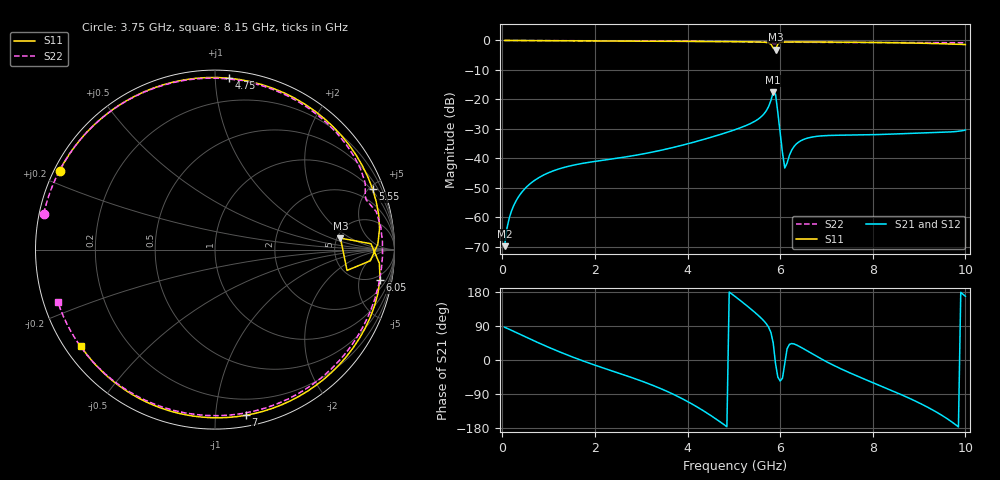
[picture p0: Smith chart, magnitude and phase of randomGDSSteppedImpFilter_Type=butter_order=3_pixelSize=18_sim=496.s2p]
! freq	dB(S11)	phase(S11)	dB(S12)	phase(S12)
!  dB(S21)	phase(S21)	dB(S22)	phase(S22)
!S-par simulation data
#  GHz  S  DB  R 50
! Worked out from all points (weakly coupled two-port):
!   200 points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, 50 MHz to 10 GHz, reference 50 ohm
!   highest |S21| = -17.66 dB at 5.85 GHz (marker M1); lowest = -69.8 dB at 50 MHz (marker M2)
!   lowest |S11| = -3.1 dB at 5.9 GHz (marker M3), VSWR 5.71, Z = 268 + j67.5 ohm
!   |S11| at or under -10 dB: nowhere
!   |S22| runs from -1.0 to 0.0 dB; largest |S21 - S12| = 0
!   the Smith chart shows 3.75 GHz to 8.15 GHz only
!   S11 on the Smith chart (normalised r, x): 3.75 GHz: 0.02, +0.24; 4.75 GHz: 0.05, +1.08; 5.55 GHz: 0.90, +5.25; 6.05 GHz: 4, -10; 7 GHz: 0.08, -1.20; 8.15 GHz: 0.05, -0.32
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0.05  -0.00 -3.0  -69.82 86.5  -69.82 86.5  -0.00 -2.9
0.2  -0.01 -11.8  -57.81 78.2  -57.81 78.2  -0.01 -11.7
0.5  -0.04 -29.2  -50.11 61.0  -50.11 61.0  -0.04 -29.0
1.15  -0.08 -66.0  -43.98 25.8  -43.98 25.8  -0.08 -65.1
1.75  -0.12 -98.6  -41.67 -2.8  -41.67 -2.8  -0.11 -96.1
2.65  -0.17 -145.8  -39.56 -40.3  -39.56 -40.3  -0.15 -139.3
3.4  -0.22 173.6  -37.36 -74.4  -37.36 -74.4  -0.20 -174.5
3.75  -0.25 153.1  -36.09 -93.8  -36.09 -93.8  -0.22 168.2
4.75  -0.37 85.4  -31.70 -167.2  -31.70 -167.2  -0.34 110.5
5.05  -0.41 62.2  -30.15 165.6  -30.15 165.6  -0.40 89.1
5.55  -0.53 21.0  -26.42 115.1  -26.42 115.1  -0.53 47.8
5.85  -2.56 -9.0  -17.66 44.9  -17.66 44.9  -1.03 19.6
5.9  -3.07 5.2  -18.21 -9.4  -18.21 -9.4  -1.04 18.1
6.05  -0.59 -10.4  -38.09 -47.9  -38.09 -47.9  -0.59 2.6
6.1  -0.54 -15.2  -43.28 -8.5  -43.28 -8.5  -0.59 -2.5
6.3  -0.50 -31.7  -35.98 42.3  -35.98 42.3  -0.62 -22.2
6.7  -0.52 -60.2  -32.75 15.7  -32.75 15.7  -0.66 -59.4
7  -0.55 -79.5  -32.28 -4.5  -32.28 -4.5  -0.67 -84.8
8.15  -0.71 -144.2  -31.92 -67.2  -31.92 -67.2  -0.70 -161.7
8.35  -0.75 -155.1  -31.81 -77.4  -31.81 -77.4  -0.70 -172.8
9.2  -0.99 155.0  -31.34 -125.6  -31.34 -125.6  -0.73 143.7
10  -1.40 92.1  -30.40 168.1  -30.40 168.1  -0.79 104.1
